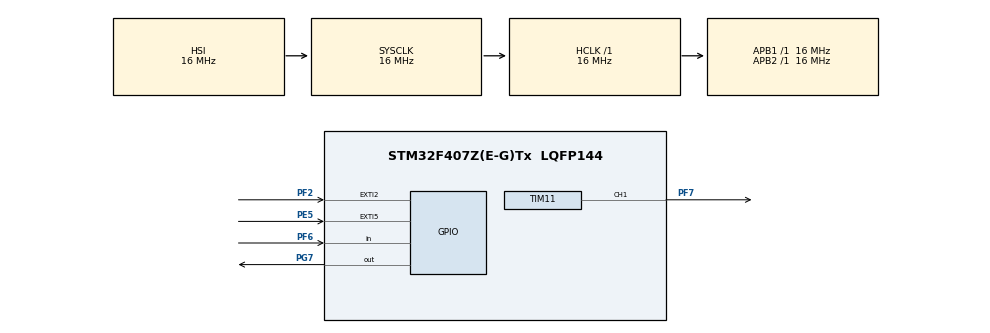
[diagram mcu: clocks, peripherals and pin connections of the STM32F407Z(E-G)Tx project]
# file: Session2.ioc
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Mcu.Family=STM32F4
Mcu.Name=STM32F407Z(E-G)Tx
Mcu.Package=LQFP144
NVIC.EXTI2_IRQn=true\:0\:0\:false\:false\:true\:true\:true\:true
NVIC.EXTI9_5_IRQn=true\:0\:0\:false\:false\:true\:true\:true\:true
NVIC.PriorityGroup=NVIC_PRIORITYGROUP_4
NVIC.TIM6_DAC_IRQn=true\:0\:0\:false\:false\:true\:true\:true\:true
PA0-WKUP.Signal=S_TIM2_CH1_ETR
PE5.Signal=GPXTI5
PF2.GPIO_ModeDefaultEXTI=GPIO_MODE_IT_RISING
PF2.Signal=GPXTI2
PF6.Signal=GPIO_Input
PF7.Signal=S_TIM11_CH1
PG7.Signal=GPIO_Output
ProjectManager.HeapSize=0x200
ProjectManager.StackSize=0x400
ProjectManager.TargetToolchain=STM32CubeIDE
RCC.AHBFreq_Value=16000000
RCC.APB1Freq_Value=16000000
RCC.APB2Freq_Value=16000000
RCC.CortexFreq_Value=16000000
RCC.HSE_VALUE=25000000
RCC.HSI_VALUE=16000000
RCC.LSE_VALUE=32768
RCC.SYSCLKFreq_VALUE=16000000
RCC.VCOOutputFreq_Value=192000000
SH.S_TIM11_CH1.0=TIM11_CH1,PWM Generation1 CH1
SH.S_TIM2_CH1_ETR.0=TIM2_CH1
TIM11.Channel=TIM_CHANNEL_1
TIM11.Period=999
TIM6.AutoReloadPreload=TIM_AUTORELOAD_PRELOAD_ENABLE
TIM6.Period=9999
TIM6.Prescaler=15
TIM6.TIM_MasterOutputTrigger=TIM_TRGO_UPDATE
VP_TIM11_VS_ClockSourceINT.Mode=Enable_Timer
VP_TIM6_VS_ClockSourceINT.Mode=Enable_Timer
board=custom

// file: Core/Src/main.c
/* USER CODE BEGIN Header */
/**
  ******************************************************************************
  * @file           : main.c
  * @brief          : Main program body
  ******************************************************************************
  * @attention
  *
  * Copyright (c) 2024 STMicroelectronics.
  * All rights reserved.
  *
  * This software is licensed under terms that can be found in the LICENSE file
  * in the root directory of this software component.
  * If no LICENSE file comes with this software, it is provided AS-IS.
  *
  ******************************************************************************
  */
/* USER CODE END Header */
#include "main.h"

TIM_HandleTypeDef htim6;
TIM_HandleTypeDef htim11;

void SystemClock_Config(void);
static void MX_GPIO_Init(void);
static void MX_TIM6_Init(void);
static void MX_TIM11_Init(void);

/* USER CODE BEGIN 0 */
uint32_t counter = 0;
uint32_t velocity = 0, direction = 0;
/* USER CODE END 0 */

int main(void)
{

  /* MCU Configuration--------------------------------------------------------*/

  /* Reset of all peripherals, Initializes the Flash interface and the Systick. */
  HAL_Init();

  /* Configure the system clock */
  SystemClock_Config();

  /* Initialize all configured peripherals */
  MX_GPIO_Init();
  MX_TIM6_Init();
  MX_TIM11_Init();
  /* USER CODE BEGIN 2 */
  HAL_TIM_Base_Start_IT(&htim6);
  HAL_TIM_PWM_Start(&htim11, TIM_CHANNEL_1);
  TIM11->CCR1 = 500;
  /* USER CODE END 2 */

  /* Infinite loop */
  /* USER CODE BEGIN WHILE */
  while (1)
  {
	  HAL_GPIO_TogglePin(GPIOG, GPIO_PIN_7);
	  HAL_Delay(1000);
    /* USER CODE END WHILE */

  }
}

void SystemClock_Config(void)
{
  RCC_OscInitTypeDef RCC_OscInitStruct = {0};
  RCC_ClkInitTypeDef RCC_ClkInitStruct = {0};

  /** Configure the main internal regulator output voltage
  */
  __HAL_RCC_PWR_CLK_ENABLE();
  __HAL_PWR_VOLTAGESCALING_CONFIG(PWR_REGULATOR_VOLTAGE_SCALE1);

  /** Initializes the RCC Oscillators according to the specified parameters
  * in the RCC_OscInitTypeDef structure.
  */
  RCC_OscInitStruct.OscillatorType = RCC_OSCILLATORTYPE_HSI;
  RCC_OscInitStruct.HSIState = RCC_HSI_ON;
  RCC_OscInitStruct.HSICalibrationValue = RCC_HSICALIBRATION_DEFAULT;
  RCC_OscInitStruct.PLL.PLLState = RCC_PLL_NONE;
  if (HAL_RCC_OscConfig(&RCC_OscInitStruct) != HAL_OK)
  {
    Error_Handler();
  }

  /** Initializes the CPU, AHB and APB buses clocks
  */
  RCC_ClkInitStruct.ClockType = RCC_CLOCKTYPE_HCLK|RCC_CLOCKTYPE_SYSCLK
                              |RCC_CLOCKTYPE_PCLK1|RCC_CLOCKTYPE_PCLK2;
  RCC_ClkInitStruct.SYSCLKSource = RCC_SYSCLKSOURCE_HSI;
  RCC_ClkInitStruct.AHBCLKDivider = RCC_SYSCLK_DIV1;
  RCC_ClkInitStruct.APB1CLKDivider = RCC_HCLK_DIV1;
  RCC_ClkInitStruct.APB2CLKDivider = RCC_HCLK_DIV1;

  if (HAL_RCC_ClockConfig(&RCC_ClkInitStruct, FLASH_LATENCY_0) != HAL_OK)
  {
    Error_Handler();
  }
}

static void MX_TIM6_Init(void)
{

  TIM_MasterConfigTypeDef sMasterConfig = {0};

  htim6.Instance = TIM6;
  htim6.Init.Prescaler = 15;
  htim6.Init.CounterMode = TIM_COUNTERMODE_UP;
  htim6.Init.Period = 9999;
  htim6.Init.AutoReloadPreload = TIM_AUTORELOAD_PRELOAD_ENABLE;
  if (HAL_TIM_Base_Init(&htim6) != HAL_OK)
  {
    Error_Handler();
  }
  sMasterConfig.MasterOutputTrigger = TIM_TRGO_UPDATE;
  sMasterConfig.MasterSlaveMode = TIM_MASTERSLAVEMODE_DISABLE;
  if (HAL_TIMEx_MasterConfigSynchronization(&htim6, &sMasterConfig) != HAL_OK)
  {
    Error_Handler();
  }

}

static void MX_TIM11_Init(void)
{

  TIM_OC_InitTypeDef sConfigOC = {0};

  htim11.Instance = TIM11;
  htim11.Init.Prescaler = 0;
  htim11.Init.CounterMode = TIM_COUNTERMODE_UP;
  htim11.Init.Period = 999;
  htim11.Init.ClockDivision = TIM_CLOCKDIVISION_DIV1;
  htim11.Init.AutoReloadPreload = TIM_AUTORELOAD_PRELOAD_DISABLE;
  if (HAL_TIM_Base_Init(&htim11) != HAL_OK)
  {
    Error_Handler();
  }
  if (HAL_TIM_PWM_Init(&htim11) != HAL_OK)
  {
    Error_Handler();
  }
  sConfigOC.OCMode = TIM_OCMODE_PWM1;
  sConfigOC.Pulse = 0;
  sConfigOC.OCPolarity = TIM_OCPOLARITY_HIGH;
  sConfigOC.OCFastMode = TIM_OCFAST_DISABLE;
  if (HAL_TIM_PWM_ConfigChannel(&htim11, &sConfigOC, TIM_CHANNEL_1) != HAL_OK)
  {
    Error_Handler();
  }
  HAL_TIM_MspPostInit(&htim11);

}

static void MX_GPIO_Init(void)
{
  GPIO_InitTypeDef GPIO_InitStruct = {0};

  /* GPIO Ports Clock Enable */
  __HAL_RCC_GPIOE_CLK_ENABLE();
  __HAL_RCC_GPIOF_CLK_ENABLE();
  __HAL_RCC_GPIOA_CLK_ENABLE();
  __HAL_RCC_GPIOG_CLK_ENABLE();

  /*Configure GPIO pin Output Level */
  HAL_GPIO_WritePin(GPIOG, GPIO_PIN_7, GPIO_PIN_RESET);

  /*Configure GPIO pin : PE5 */
  GPIO_InitStruct.Pin = GPIO_PIN_5;
  GPIO_InitStruct.Mode = GPIO_MODE_IT_RISING;
  GPIO_InitStruct.Pull = GPIO_NOPULL;
  HAL_GPIO_Init(GPIOE, &GPIO_InitStruct);

  /*Configure GPIO pin : PF2 */
  GPIO_InitStruct.Pin = GPIO_PIN_2;
  GPIO_InitStruct.Mode = GPIO_MODE_IT_RISING;
  GPIO_InitStruct.Pull = GPIO_NOPULL;
  HAL_GPIO_Init(GPIOF, &GPIO_InitStruct);

  /*Configure GPIO pin : PF6 */
  GPIO_InitStruct.Pin = GPIO_PIN_6;
  GPIO_InitStruct.Mode = GPIO_MODE_INPUT;
  GPIO_InitStruct.Pull = GPIO_NOPULL;
  HAL_GPIO_Init(GPIOF, &GPIO_InitStruct);

  /*Configure GPIO pin : PA0 */
  GPIO_InitStruct.Pin = GPIO_PIN_0;
  GPIO_InitStruct.Mode = GPIO_MODE_AF_PP;
  GPIO_InitStruct.Pull = GPIO_NOPULL;
  GPIO_InitStruct.Speed = GPIO_SPEED_FREQ_LOW;
  GPIO_InitStruct.Alternate = GPIO_AF1_TIM2;
  HAL_GPIO_Init(GPIOA, &GPIO_InitStruct);

  /*Configure GPIO pin : PG7 */
  GPIO_InitStruct.Pin = GPIO_PIN_7;
  GPIO_InitStruct.Mode = GPIO_MODE_OUTPUT_PP;
  GPIO_InitStruct.Pull = GPIO_NOPULL;
  GPIO_InitStruct.Speed = GPIO_SPEED_FREQ_LOW;
  HAL_GPIO_Init(GPIOG, &GPIO_InitStruct);

  /* EXTI interrupt init*/
  HAL_NVIC_SetPriority(EXTI2_IRQn, 0, 0);
  HAL_NVIC_EnableIRQ(EXTI2_IRQn);

  HAL_NVIC_SetPriority(EXTI9_5_IRQn, 0, 0);
  HAL_NVIC_EnableIRQ(EXTI9_5_IRQn);

}

/* USER CODE BEGIN 4 */
void HAL_GPIO_EXTI_Callback(uint16_t GPIO_Pin)
{
	if(GPIO_Pin == GPIO_PIN_5)
	{
		counter++;
		direction = HAL_GPIO_ReadPin(GPIOF, GPIO_PIN_6);
	}
	if(GPIO_Pin == GPIO_PIN_2)
	{
		if(TIM11->CCR1 < TIM11->ARR)
		{
			TIM11->CCR1 += 100;
		}
		else
		{
			TIM11->CCR1 = 500;
		}
	}
}
void HAL_TIM_PeriodElapsedCallback(TIM_HandleTypeDef *htim)
{
	uint32_t round = 0;
	if(htim->Instance == TIM6)
	{
		round = counter * 6000;
		velocity = round / 1024;
		counter = 0;
	}
}
/* USER CODE END 4 */

void Error_Handler(void)
{
  __disable_irq();
  while (1)
  {
  }
}
